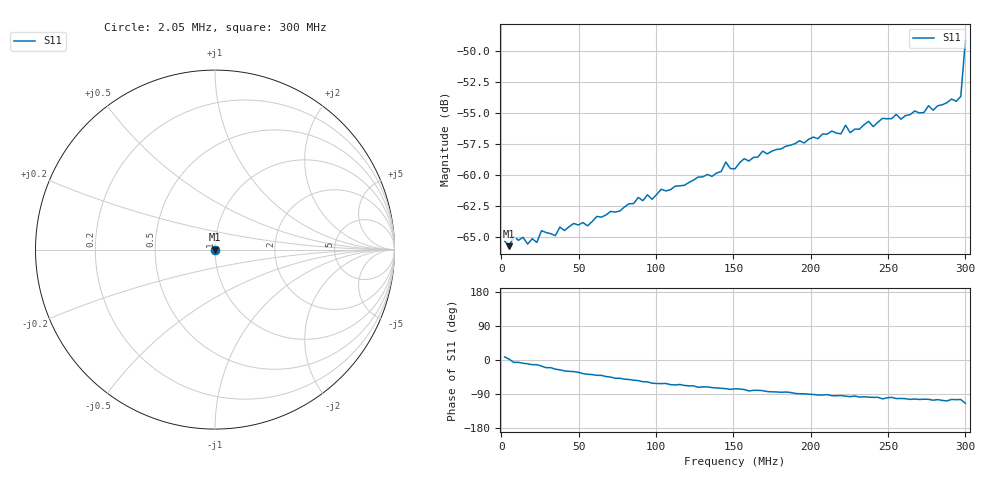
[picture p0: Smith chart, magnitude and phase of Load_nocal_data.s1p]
# Hz S RI R 50
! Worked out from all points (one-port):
!   101 points, 2.05 MHz to 300 MHz, reference 50 ohm
!   lowest |S11| = -65.8 dB at 5.029 MHz (marker M1), VSWR 1.00, Z = 50.1 + j0.00185 ohm
!   |S11| at or under -10 dB: start of sweep to end of sweep
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2050000  0.000534 7.66e-05
5029500  0.000514 1.84e-05
8009000  0.00056 -6.25e-05
1.69475e7  0.000517 -9.12e-05
2.29065e7  0.000521 -0.000114
2.5886e7  0.000571 -0.000165
3.48245e7  0.000517 -0.000233
3.7804e7  0.000553 -0.000269
4.07835e7  0.000522 -0.000286
7.65375e7  0.000476 -0.000531
8.84555e7  0.000471 -0.000659
9.7394e7  0.000383 -0.000698
1.03353e8  0.000406 -0.000774
1.15271e8  0.000387 -0.000815
1.361275e8  0.000292 -0.000941
1.45066e8  0.00028 -0.00109
1.51025e8  0.000255 -0.00102
1.56984e8  0.000242 -0.00114
1.897585e8  4.4e-05 -0.00133
2.195535e8  -9.31e-05 -0.00146
2.22533e8  -0.000147 -0.00158
2.255125e8  -0.000174 -0.00147
2.374305e8  -0.00023 -0.00163
2.4041e8  -0.000234 -0.00155
2.46369e8  -0.000369 -0.00165
2.64246e8  -0.000422 -0.0017
2.970205e8  -0.000509 -0.00201
3e8  -0.00144 -0.00317
